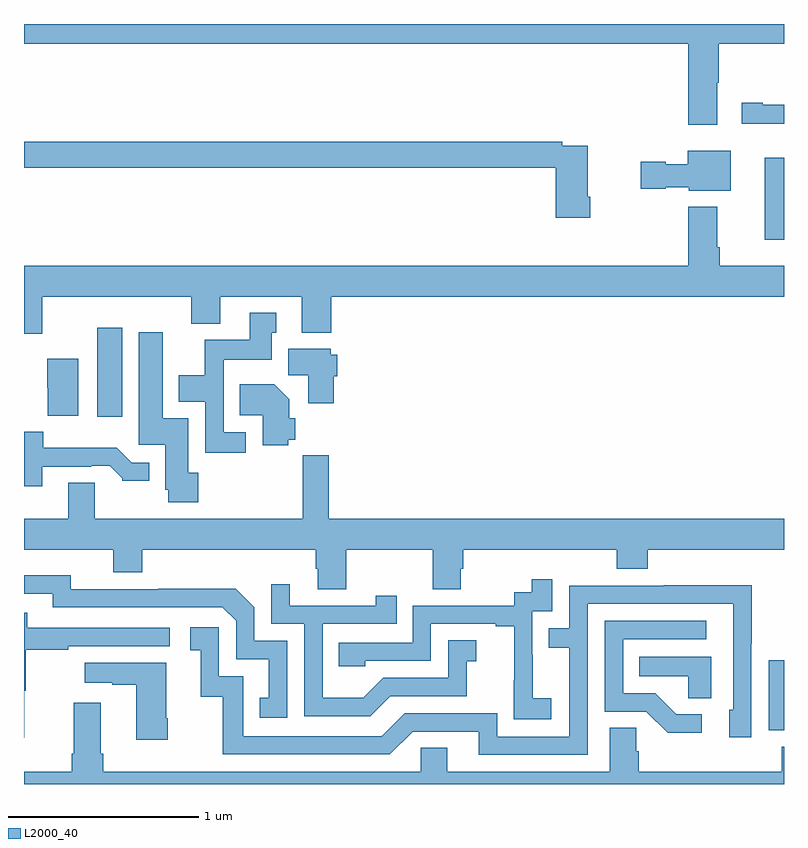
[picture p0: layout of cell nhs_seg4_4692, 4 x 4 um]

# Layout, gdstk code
import gdstk
lib = gdstk.Library(unit=1e-6, precision=1e-09)
def R(c, l, rs):  # rectangles x0, y0, x1, y1
    for r in rs: c.add(gdstk.rectangle(r[:2], r[2:], *l))
def P(c, l, *ps):  # polygons
    for p in ps: c.add(gdstk.Polygon(p, *l))
L2000_40 = (2000, 40)

nhs_seg4_4692 = lib.new_cell('nhs_seg4_4692')
R(nhs_seg4_4692, L2000_40, [(366.921,817.182,367,817.552), (363.386,818.832,363.517,819.301), (366.899,819.765,367,820.195)])
P(nhs_seg4_4692, L2000_40, [(366.649,820.592),(366.657,820.592),(366.657,820.796),(367,820.796),(367,820.9),(363,820.9),(363,820.796),(366.497,820.796),(366.497,820.371),(366.649,820.371)],
  [(367,820.476),(366.889,820.476),(366.889,820.486),(366.777,820.486),(366.777,820.376),(367,820.376)],
  [(365.981,819.991),(365.968,819.991),(365.968,820.26),(365.834,820.26),(365.834,820.28),(363,820.28),(363,820.144),(365.798,820.144),(365.798,819.879),(365.981,819.879)],
  [(366.721,820.234),(366.494,820.234),(366.494,820.162),(366.378,820.162),(366.378,820.175),(366.246,820.175),(366.246,820.033),(366.378,820.033),(366.378,820.04),(366.498,820.04),(366.498,820.022),(366.721,820.022)],
  [(363.097,819.464),(363.881,819.464),(363.881,819.323),(364.033,819.323),(364.033,819.464),(364.463,819.464),(364.463,819.275),(364.616,819.275),(364.616,819.464),(367,819.464),(367,819.628),(366.662,819.628),(366.662,819.724),(366.649,819.724),(366.649,819.937),(366.497,819.937),(366.497,819.628),(363,819.628),(363,819.27),(363.097,819.27)],
  [(364.168,818.751),(364.05,818.751),(364.05,819.134),(364.303,819.134),(364.303,819.276),(364.327,819.276),(364.327,819.379),(364.187,819.379),(364.187,819.238),(363.952,819.238),(363.952,819.052),(363.815,819.052),(363.815,818.912),(363.954,818.912),(363.954,818.643),(364.168,818.643)],
  [(363.917,818.538),(363.865,818.538),(363.865,818.824),(363.73,818.824),(363.73,819.277),(363.605,819.277),(363.605,818.685),(363.743,818.685),(363.743,818.448),(363.76,818.448),(363.76,818.382),(363.917,818.382)],
  [(364.631,819.045),(364.649,819.045),(364.649,819.159),(364.614,819.159),(364.614,819.19),(364.391,819.19),(364.391,819.052),(364.496,819.052),(364.496,818.904),(364.631,818.904)],
  [(363.286,819.139),(363.122,819.139),(363.122,818.985),(363.124,818.985),(363.124,818.837),(363.286,818.837)],
  [(364.392,818.712),(364.427,818.712),(364.427,818.826),(364.396,818.826),(364.396,818.926),(364.318,819.004),(364.135,819.004),(364.135,818.84),(364.256,818.84),(364.256,818.683),(364.392,818.683)],
  [(363.097,818.571),(363.353,818.571),(363.353,818.574),(363.452,818.574),(363.516,818.51),(363.516,818.495),(363.658,818.495),(363.658,818.592),(363.567,818.592),(363.489,818.671),(363.1,818.671),(363.1,818.755),(363,818.755),(363,818.466),(363.097,818.466)],
  [(364.695,818.132),(365.152,818.132),(365.152,817.924),(365.299,817.924),(365.299,818.034),(365.312,818.034),(365.312,818.132),(366.119,818.132),(366.119,818.033),(366.284,818.033),(366.284,818.132),(367,818.132),(367,818.296),(364.604,818.296),(364.604,818.629),(364.468,818.629),(364.468,818.296),(363.373,818.296),(363.373,818.486),(363.233,818.486),(363.233,818.296),(363,818.296),(363,818.132),(363.47,818.132),(363.47,818.015),(363.623,818.015),(363.623,818.132),(364.535,818.132),(364.535,818.034),(364.547,818.034),(364.547,817.924),(364.695,817.924)],
  [(364.386,817.653),(364.212,817.653),(364.212,817.83),(364.114,817.928),(363.706,817.928),(363.706,817.926),(363.246,817.926),(363.246,817.999),(363,817.999),(363,817.902),(363.15,817.902),(363.15,817.83),(364.044,817.83),(364.116,817.758),(364.116,817.557),(364.289,817.557),(364.289,817.353),(364.24,817.353),(364.24,817.248),(364.386,817.248)],
  [(365.776,817.351),(365.678,817.351),(365.678,817.58),(365.676,817.58),(365.676,817.809),(365.781,817.809),(365.781,817.978),(365.673,817.978),(365.673,817.908),(365.58,817.908),(365.58,817.839),(365.046,817.839),(365.046,817.644),(364.657,817.644),(364.657,817.521),(364.797,817.521),(364.797,817.548),(365.142,817.548),(365.142,817.743),(365.483,817.743),(365.483,817.731),(365.579,817.731),(365.579,817.447),(365.578,817.447),(365.578,817.241),(365.776,817.241)],
  [(364.927,817.362),(365.331,817.362),(365.331,817.547),(365.38,817.547),(365.38,817.657),(365.232,817.657),(365.232,817.458),(364.89,817.458),(364.786,817.354),(364.572,817.354),(364.572,817.743),(364.961,817.743),(364.961,817.891),(364.85,817.891),(364.85,817.839),(364.399,817.839),(364.399,817.951),(364.302,817.951),(364.302,817.743),(364.476,817.743),(364.476,817.257),(364.822,817.257)],
  [(365.967,817.848),(366.732,817.848),(366.732,817.29),(366.713,817.29),(366.713,817.146),(366.828,817.146),(366.828,817.639),(366.831,817.639),(366.831,817.946),(366.367,817.946),(366.367,817.944),(365.871,817.944),(365.871,817.719),(365.761,817.719),(365.761,817.618),(365.871,817.618),(365.871,817.149),(365.49,817.149),(365.49,817.272),(365.004,817.272),(364.884,817.152),(364.155,817.152),(364.155,817.467),(364.026,817.467),(364.026,817.726),(363.876,817.726),(363.876,817.605),(363.929,817.605),(363.929,817.359),(364.047,817.359),(364.047,817.056),(364.926,817.056),(365.046,817.176),(365.393,817.176),(365.393,817.053),(365.967,817.053)],
  [(363.002,817.392),(363.01,817.392),(363.01,817.606),(363.233,817.606),(363.233,817.626),(363.766,817.626),(363.766,817.722),(363.017,817.722),(363.017,817.801),(363,817.801),(363,817.143),(363.002,817.143)],
  [(366.568,817.266),(366.433,817.266),(366.322,817.377),(366.153,817.377),(366.153,817.662),(366.592,817.662),(366.592,817.758),(366.057,817.758),(366.057,817.281),(366.276,817.281),(366.389,817.169),(366.568,817.169)],
  [(366.616,817.57),(366.238,817.57),(366.238,817.466),(366.495,817.466),(366.495,817.351),(366.616,817.351)],
  [(363.756,817.246),(363.748,817.246),(363.748,817.537),(363.321,817.537),(363.321,817.433),(363.464,817.433),(363.464,817.423),(363.59,817.423),(363.59,817.134),(363.756,817.134)],
  [(367,817.097),(366.989,817.097),(366.989,816.964),(366.236,816.964),(366.236,817.073),(366.222,817.073),(366.222,817.196),(366.083,817.196),(366.083,816.964),(365.227,816.964),(365.227,817.091),(365.088,817.091),(365.088,816.964),(363.416,816.964),(363.416,817.06),(363.403,817.06),(363.403,817.327),(363.263,817.327),(363.263,817.06),(363.251,817.06),(363.251,816.964),(363,816.964),(363,816.9),(367,816.9)])

lib.write_gds('nhs_seg4_4692.gds')
